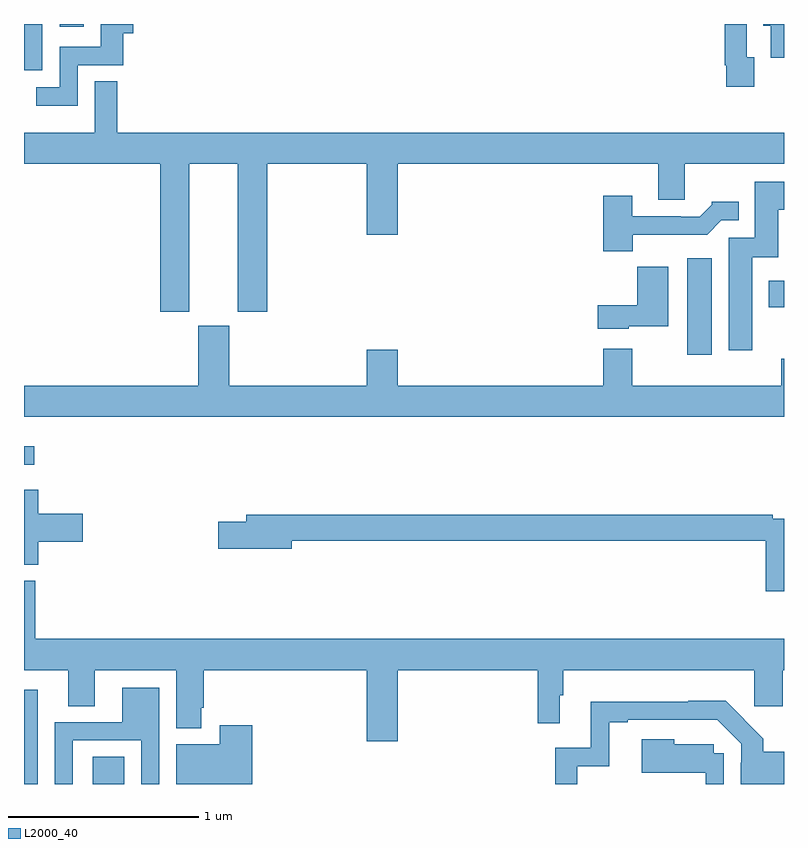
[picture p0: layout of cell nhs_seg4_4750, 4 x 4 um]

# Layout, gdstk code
import gdstk
lib = gdstk.Library(unit=1e-6, precision=1e-09)
def R(c, l, rs):  # rectangles x0, y0, x1, y1
    for r in rs: c.add(gdstk.rectangle(r[:2], r[2:], *l))
def P(c, l, *ps):  # polygons
    for p in ps: c.add(gdstk.Polygon(p, *l))
L2000_40 = (2000, 40)

nhs_seg4_4750 = lib.new_cell('nhs_seg4_4750')
R(nhs_seg4_4750, L2000_40, [(367,782.9,367.072,783.397), (367.361,782.9,367.528,783.044), (367,784.58,367.054,784.678), (370.49,785.16,370.621,785.668), (370.919,785.408,371,785.548), (367,786.657,367.096,786.9), (367.188,786.885,367.315,786.9)])
P(nhs_seg4_4750, L2000_40, [(367.284,786.684),(367.522,786.684),(367.522,786.851),(367.574,786.851),(367.574,786.9),(367.403,786.9),(367.403,786.78),(367.188,786.78),(367.188,786.567),(367.065,786.567),(367.065,786.47),(367.284,786.47)],
  [(371,786.9),(370.892,786.9),(370.892,786.89),(370.931,786.89),(370.931,786.722),(371,786.722)],
  [(370.843,786.726),(370.803,786.726),(370.803,786.9),(370.687,786.9),(370.687,786.682),(370.695,786.682),(370.695,786.57),(370.843,786.57)],
  [(367.87,786.164),(368.126,786.164),(368.126,785.385),(368.279,785.385),(368.279,786.164),(368.804,786.164),(368.804,785.79),(368.968,785.79),(368.968,786.164),(370.337,786.164),(370.337,785.974),(370.477,785.974),(370.477,786.164),(371,786.164),(371,786.328),(367.492,786.328),(367.492,786.599),(367.373,786.599),(367.373,786.328),(367,786.328),(367,786.164),(367.718,786.164),(367.718,785.385),(367.87,785.385)],
  [(370.834,785.672),(370.969,785.672),(370.969,785.923),(371,785.923),(371,786.07),(370.847,786.07),(370.847,785.775),(370.709,785.775),(370.709,785.184),(370.834,785.184)],
  [(370.204,785.792),(370.595,785.792),(370.671,785.868),(370.762,785.868),(370.762,785.965),(370.62,785.965),(370.62,785.95),(370.556,785.886),(370.457,785.886),(370.457,785.889),(370.201,785.889),(370.201,785.995),(370.049,785.995),(370.049,785.705),(370.204,785.705)],
  [(370.182,785.309),(370.39,785.309),(370.39,785.623),(370.228,785.623),(370.228,785.419),(370.02,785.419),(370.02,785.297),(370.182,785.297)],
  [(371,785.137),(370.985,785.137),(370.985,784.996),(370.201,784.996),(370.201,785.191),(370.049,785.191),(370.049,784.996),(368.968,784.996),(368.968,785.185),(368.804,785.185),(368.804,784.996),(368.08,784.996),(368.08,785.313),(367.916,785.313),(367.916,784.996),(367,784.996),(367,784.832),(371,784.832)],
  [(367.076,784.175),(367.309,784.175),(367.309,784.322),(367.076,784.322),(367.076,784.45),(367,784.45),(367,784.054),(367.076,784.054)],
  [(371,784.296),(370.94,784.296),(370.94,784.316),(368.171,784.316),(368.171,784.28),(368.022,784.28),(368.022,784.138),(368.41,784.138),(368.41,784.18),(370.904,784.18),(370.904,783.915),(371,783.915)],
  [(368.968,783.5),(369.703,783.5),(369.703,783.219),(369.82,783.219),(369.82,783.368),(369.839,783.368),(369.839,783.5),(370.843,783.5),(370.843,783.309),(370.994,783.309),(370.994,783.5),(371,783.5),(371,783.664),(367.058,783.664),(367.058,783.969),(367,783.969),(367,783.5),(367.232,783.5),(367.232,783.31),(367.372,783.31),(367.372,783.5),(367.802,783.5),(367.802,783.194),(367.933,783.194),(367.933,783.301),(367.946,783.301),(367.946,783.5),(368.804,783.5),(368.804,783.126),(368.968,783.126)],
  [(367.257,783.129),(367.617,783.129),(367.617,782.9),(367.713,782.9),(367.713,783.406),(367.517,783.406),(367.517,783.225),(367.161,783.225),(367.161,782.9),(367.257,782.9)],
  [(369.912,782.994),(370.081,782.994),(370.081,783.225),(370.177,783.225),(370.177,783.237),(370.547,783.237),(370.547,783.239),(370.649,783.239),(370.776,783.111),(370.776,783.011),(370.773,783.011),(370.773,782.9),(371,782.9),(371,783.07),(370.892,783.07),(370.892,783.139),(370.694,783.337),(370.495,783.337),(370.495,783.334),(369.983,783.334),(369.983,783.09),(369.796,783.09),(369.796,782.9),(369.912,782.9)],
  [(368.201,783.208),(368.03,783.208),(368.03,783.109),(367.802,783.109),(367.802,782.9),(368.201,782.9)],
  [(370.683,783.063),(370.629,783.063),(370.629,783.109),(370.422,783.109),(370.422,783.136),(370.25,783.136),(370.25,782.96),(370.587,782.96),(370.587,782.9),(370.683,782.9)])

lib.write_gds('nhs_seg4_4750.gds')
